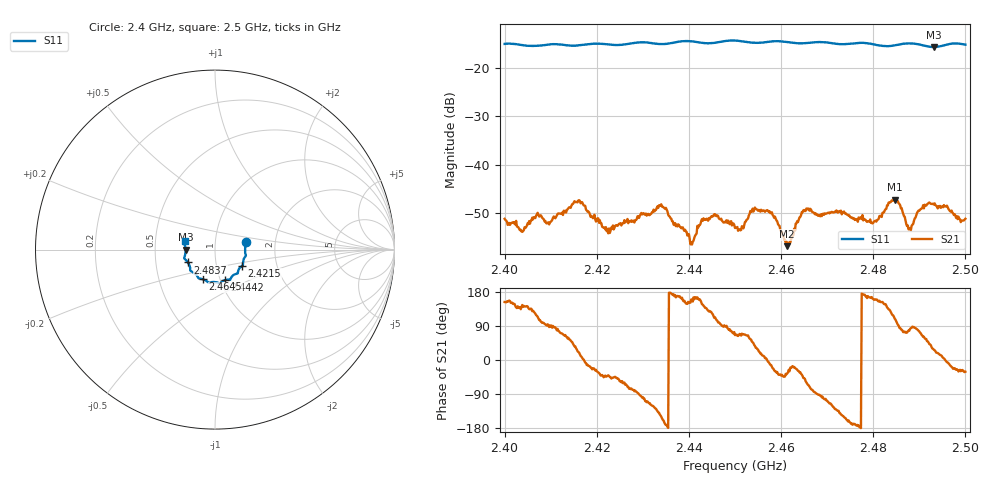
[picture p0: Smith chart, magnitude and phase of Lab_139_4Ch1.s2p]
# Hz S RI R 50
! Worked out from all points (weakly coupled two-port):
!   601 points, 2.4 GHz to 2.5 GHz, reference 50 ohm
!   highest |S21| = -47.19 dB at 2.4847 GHz (marker M1); lowest = -56.8 dB at 2.4613 GHz (marker M2)
!   lowest |S11| = -15.7 dB at 2.4932 GHz (marker M3), VSWR 1.39, Z = 36 - j0.0598 ohm
!   |S11| at or under -10 dB: start of sweep to end of sweep
!   S12 and S22 are empty: the file has one direction only
!   S11 on the Smith chart (normalised r, x): 2.4 GHz: 1.41, +0.12; 2.4215 GHz: 1.33, -0.25; 2.4442 GHz: 1.05, -0.37; 2.4645 GHz: 0.83, -0.29; 2.4837 GHz: 0.73, -0.11; 2.5 GHz: 0.71, +0.07
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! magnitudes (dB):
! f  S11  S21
! 2.4 GHz  -15.1  -51.1
! 2.4037 GHz  -15.3  -53.7
! 2.4167 GHz  -15.3  -47.7
! 2.4215 GHz  -15.1  -52.9
! 2.4333 GHz  -15.1  -48.9
! 2.4407 GHz  -14.6  -56.4
! 2.4442 GHz  -15.0  -51.5
! 2.45 GHz  -14.4  -53.0
! 2.4515 GHz  -14.6  -52.7
! 2.4538 GHz  -14.8  -49.0
! 2.4572 GHz  -14.7  -49.5
! 2.4613 GHz  -14.7  -56.8
! 2.4645 GHz  -15.0  -49.7
! 2.4667 GHz  -14.8  -49.6
! 2.48 GHz  -15.2  -52.0
! 2.4833 GHz  -15.6  -47.8
! 2.4837 GHz  -15.5  -47.7
! 2.4847 GHz  -15.4  -47.2
! 2.4878 GHz  -15.0  -53.1
! 2.4903 GHz  -15.3  -49.1
! 2.4932 GHz  -15.7  -48.2
! 2.5 GHz  -15.2  -51.1
